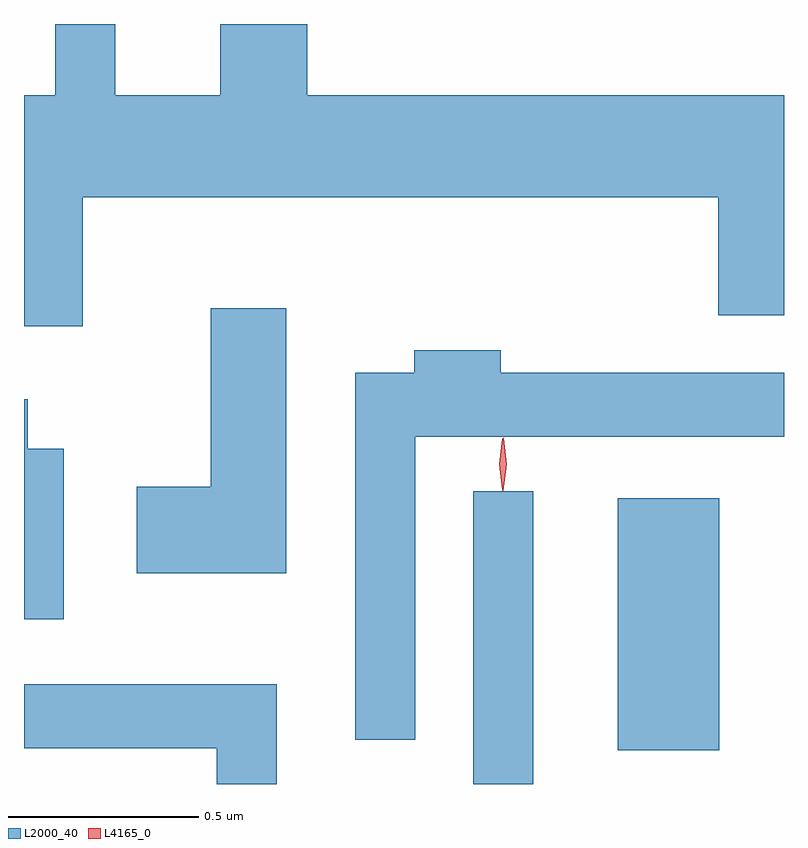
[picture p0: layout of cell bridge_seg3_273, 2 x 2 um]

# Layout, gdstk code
import gdstk
lib = gdstk.Library(unit=1e-6, precision=1e-09)
def R(c, l, rs):  # rectangles x0, y0, x1, y1
    for r in rs: c.add(gdstk.rectangle(r[:2], r[2:], *l))
def P(c, l, *ps):  # polygons
    for p in ps: c.add(gdstk.Polygon(p, *l))
L2000_40 = (2000, 40)
L4165_0 = (4165, 0)

bridge_seg3_273 = lib.new_cell('bridge_seg3_273')
R(bridge_seg3_273, L2000_40, [(1025.916,1128.912,1026.074,1129.683), (1026.296,1129.001,1026.564,1129.664)])
P(bridge_seg3_273, L2000_40, [(1024.889,1130.456),(1026.561,1130.456),(1026.561,1130.146),(1026.734,1130.146),(1026.734,1130.724),(1025.479,1130.724),(1025.479,1130.912),(1025.251,1130.912),(1025.251,1130.724),(1024.974,1130.724),(1024.974,1130.912),(1024.816,1130.912),(1024.816,1130.724),(1024.734,1130.724),(1024.734,1130.116),(1024.889,1130.116)],
  [(1025.424,1130.164),(1025.226,1130.164),(1025.226,1129.694),(1025.031,1129.694),(1025.031,1129.466),(1025.424,1129.466)],
  [(1025.764,1129.826),(1026.734,1129.826),(1026.734,1129.994),(1025.989,1129.994),(1025.989,1130.054),(1025.761,1130.054),(1025.761,1129.994),(1025.606,1129.994),(1025.606,1129.028),(1025.764,1129.028)],
  [(1024.839,1129.794),(1024.744,1129.794),(1024.744,1129.924),(1024.734,1129.924),(1024.734,1129.346),(1024.839,1129.346)],
  [(1025.399,1129.174),(1024.734,1129.174),(1024.734,1129.006),(1025.241,1129.006),(1025.241,1128.912),(1025.399,1128.912)])
P(bridge_seg3_273, L4165_0, [(1025.994,1129.684),(1025.985,1129.754),(1025.995,1129.822),(1025.996,1129.823),(1025.996,1129.822),(1026.005,1129.753),(1025.995,1129.684),(1025.995,1129.684)],
  [(1025.993,1129.687),(1025.984,1129.754),(1025.993,1129.82),(1025.994,1129.821),(1025.994,1129.82),(1026.004,1129.754),(1025.994,1129.687),(1025.994,1129.687)])

lib.write_gds('bridge_seg3_273.gds')
